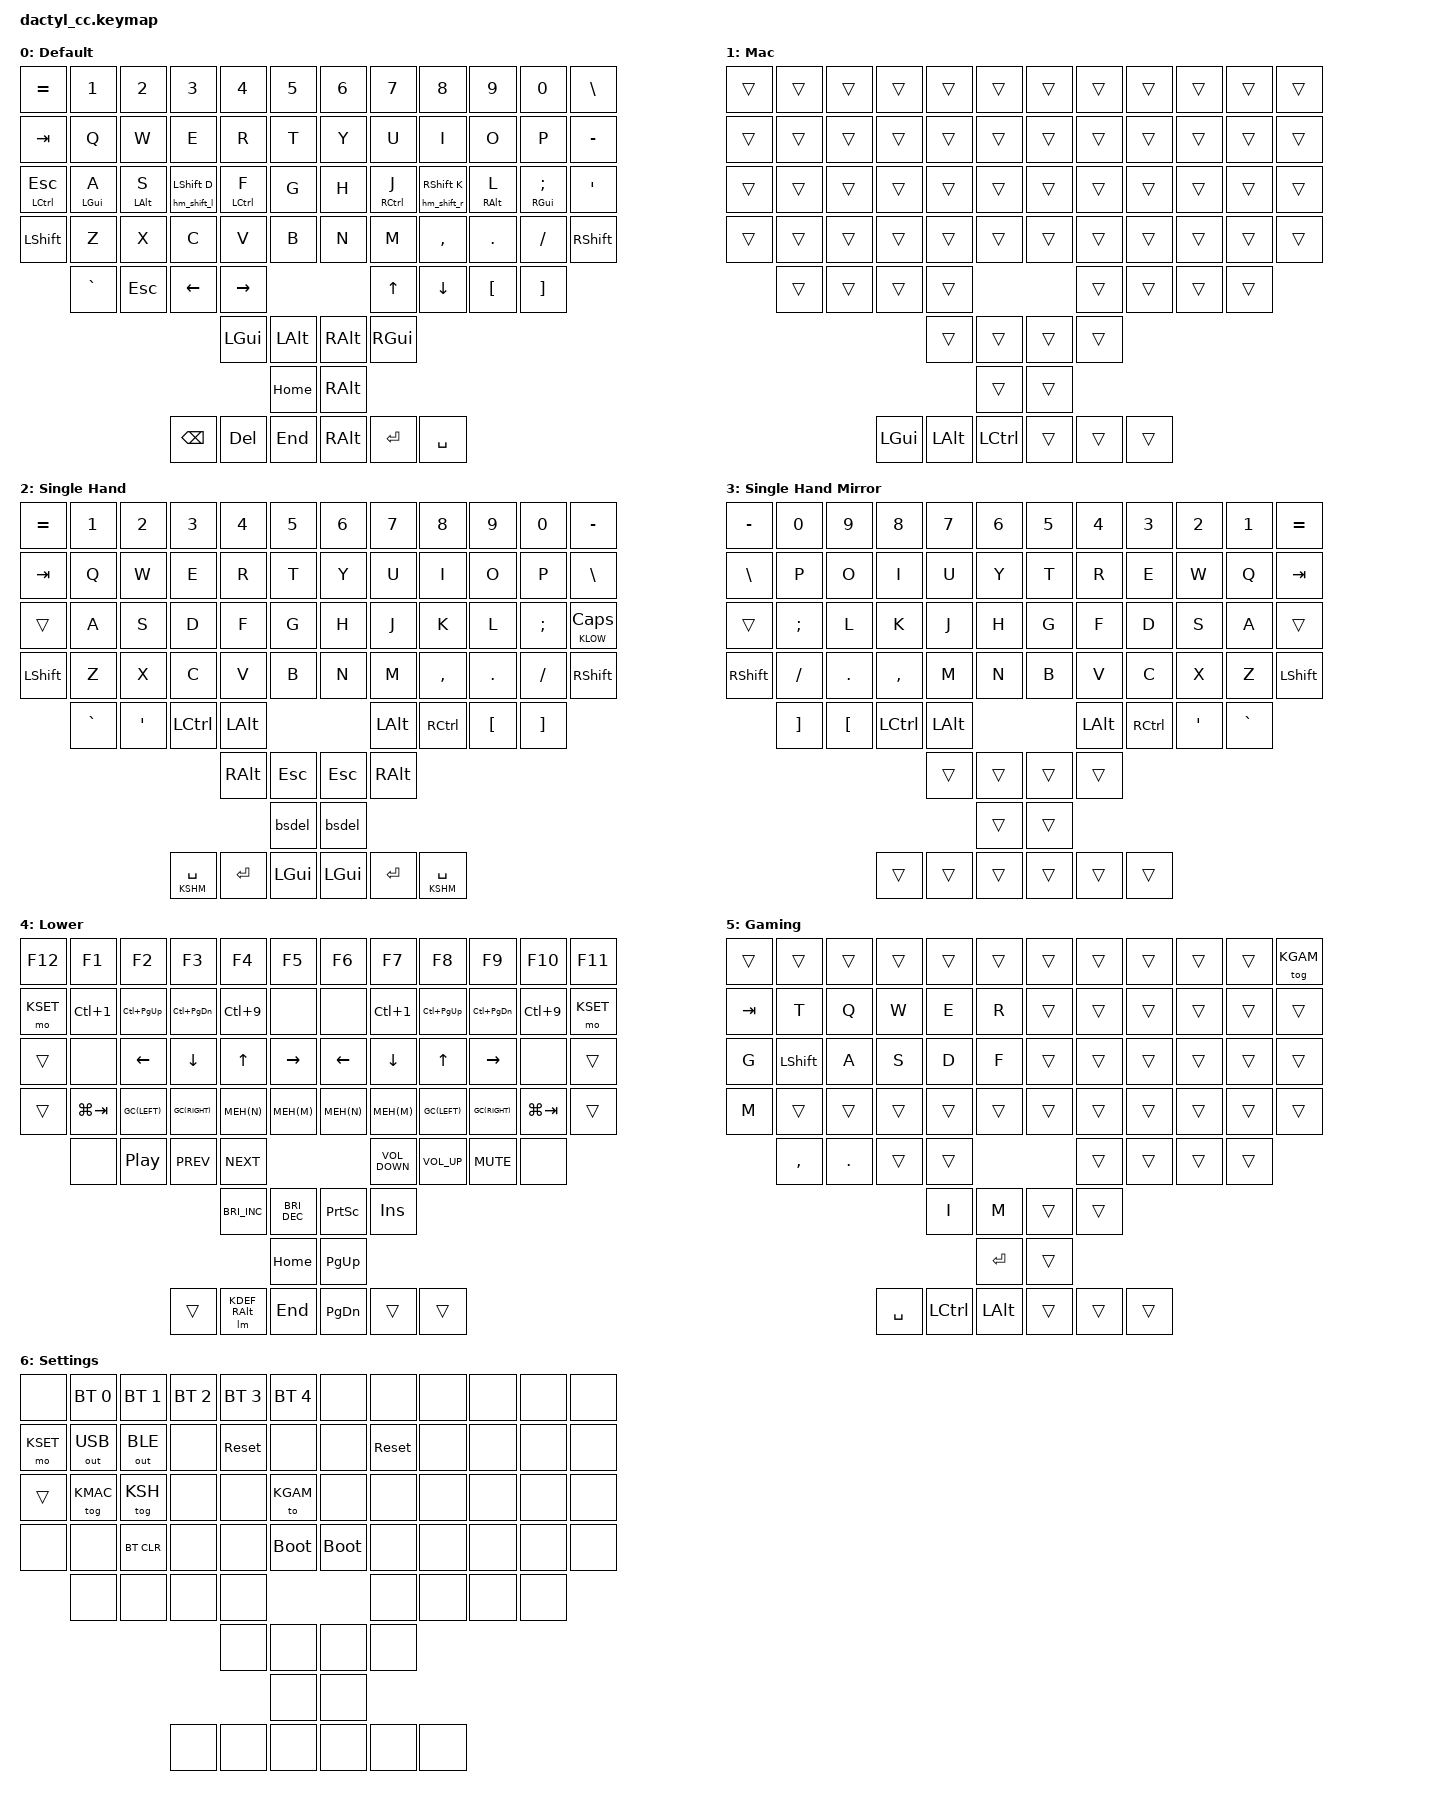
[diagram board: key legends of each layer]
#include <behaviors.dtsi>
#include <dt-bindings/zmk/keys.h>
#include <dt-bindings/zmk/bt.h>
#include <dt-bindings/zmk/outputs.h>

#include "includes/settings.dtsi"
#include "includes/behaviours_homerow_mods.dtsi"

#define KDEF         0 // Default layer
#define KMAC         1 // Mac overlay
#define KSH          2 // Single Hand layer
#define KSHM         3 // Single Hand Mirror layer
#define KLOW         4 // Lower layer
#define KGAM         5 // Gaming overlay
#define KSET         6 // Settings layer

// Modifiers
#define HYPER(key)   LS(LC(LA(LG(key)))) // LSHFT+LCTRL+LALT+LGUI
#define MEH(key)     LS(LC(LA(key))) // LSHFT+LCTRL+LALT
#define GC(key)      LG(LC(key)) // LGUI+LCTRL

// Shortcuts
#define SP           SPACE
#define ALTGR        RALT

#define BRI_DN       C_BRIGHTNESS_DEC
#define BRI_UP       C_BRIGHTNESS_INC
#define VOL_UP       C_VOLUME_UP
#define VOL_DN       C_VOLUME_DOWN


&kscan0 {
       debounce-press-ms = <30>;
       debounce-release-ms = <30>;
};

/ {
       behaviors {
              bsdel: backspace_delete {
                     compatible = "zmk,behavior-mod-morph";
                     #binding-cells = <0>;
                     bindings = <&kp BACKSPACE>, <&kp DELETE>;
                     mods = <(MOD_LSFT|MOD_RSFT)>;
              };
       };

       macros {
              /**
              * Temporarily switches to a layer (`&mo`) while a modifier is held.
              * Analogous to QMK's `LM()`, using a parameterized macro.
              *
              * Params:
              *  1. Layer to switch to
              *  2. Modifier to press while layer is active
              *
              * Example:
              *  `&lm NUM_LAYER LSHIFT`
              */
              lm: lm {
                     compatible = "zmk,behavior-macro-two-param";
                     wait-ms = <0>;
                     tap-ms = <0>;
                     #binding-cells = <2>;
                     bindings
                         = <&macro_param_1to1>
                         , <&macro_press &mo MACRO_PLACEHOLDER>
                         , <&macro_param_2to1>
                         , <&macro_press &kp MACRO_PLACEHOLDER>
                         , <&macro_pause_for_release>
                         , <&macro_param_2to1>
                         , <&macro_release &kp MACRO_PLACEHOLDER>
                         , <&macro_param_1to1>
                         , <&macro_release &mo MACRO_PLACEHOLDER>
                         ;
                 };
       };

       keymap {
              compatible = "zmk,keymap";

              default_layer {
                     display-name = "Default";
                     bindings = <
&kp EQUAL           &kp N1        &kp N2        &kp N3              &kp N4        &kp N5        &kp N6        &kp N7          &kp N8                &kp N9        &kp N0          &kp BSLH
&kp TAB             &kp Q         &kp W         &kp E               &kp R         &kp T         &kp Y         &kp U           &kp I                 &kp O         &kp P           &kp MINUS
&mt LCTRL ESC       &hm_l LGUI A  &hm_l LALT S  &hm_shift_l LSHFT D &hm_l LCTRL F &kp G         &kp H         &hm_r RCTRL J   &hm_shift_r RSHFT K   &hm_r RALT L  &hm_r RGUI SEMI &kp SQT
&kp LSHFT           &kp Z         &kp X         &kp C               &kp V         &kp B         &kp N         &kp M           &kp COMMA             &kp DOT       &kp FSLH        &kp RSHFT
                    &kp GRAVE     &kp ESC       &kp LEFT            &kp RIGHT                                 &kp UP          &kp DOWN              &kp LBKT      &kp RBKT
                                                                    &kp LGUI      &kp LALT      &kp RALT      &kp RGUI
                                                                                  &kp HOME      &kp RALT
                                                &kp BSPC            &kp DEL       &kp END       &kp RALT       &kp RET      &kp SPACE
                     >;
              };

              mac_layer {
                     display-name = "Mac";
                     bindings = <
&trans        &trans        &trans        &trans        &trans        &trans        &trans        &trans        &trans        &trans        &trans        &trans
&trans        &trans        &trans        &trans        &trans        &trans        &trans        &trans        &trans        &trans        &trans        &trans
&trans        &trans        &trans        &trans        &trans        &trans        &trans        &trans        &trans        &trans        &trans        &trans
&trans        &trans        &trans        &trans        &trans        &trans        &trans        &trans        &trans        &trans        &trans        &trans
              &trans        &trans        &trans        &trans                                    &trans        &trans        &trans        &trans
                                                        &trans        &trans        &trans        &trans
                                                                      &trans        &trans
                                          &kp LGUI      &kp LALT      &kp LCTRL     &trans        &trans        &trans
                     >;
              };

              single_hand_layer {
                     display-name = "Single Hand";
                     bindings = <
&kp EQUAL     &kp N1        &kp N2        &kp N3        &kp N4        &kp N5        &kp N6        &kp N7        &kp N8        &kp N9        &kp N0        &kp MINUS
&kp TAB       &kp Q         &kp W         &kp E         &kp R         &kp T         &kp Y         &kp U         &kp I         &kp O         &kp P         &kp BSLH
&trans        &kp A         &kp S         &kp D         &kp F         &kp G         &kp H         &kp J         &kp K         &kp L         &kp SEMI      &lt KLOW CAPS
&kp LSHFT     &kp Z         &kp X         &kp C         &kp V         &kp B         &kp N         &kp M         &kp COMMA     &kp DOT       &kp FSLH      &kp RSHFT
              &kp GRAVE     &kp SQT       &kp LCTRL     &kp LALT                                  &kp LALT      &kp RCTRL     &kp LBKT      &kp RBKT
                                                        &kp ALTGR     &kp ESC       &kp ESC       &kp ALTGR
                                                                      &bsdel        &bsdel
                                          &lt KSHM SP   &kp RET       &kp LGUI      &kp LGUI      &kp RET       &lt KSHM SP
                     >;
              };

              single_hand_mirror_layer {
                     display-name = "Single Hand Mirror";
                     bindings = <
&kp MINUS     &kp N0        &kp N9        &kp N8        &kp N7        &kp N6        &kp N5        &kp N4        &kp N3        &kp N2        &kp N1        &kp EQUAL
&kp BSLH      &kp P         &kp O         &kp I         &kp U         &kp Y         &kp T         &kp R         &kp E         &kp W         &kp Q         &kp TAB
&trans        &kp SEMI      &kp L         &kp K         &kp J         &kp H         &kp G         &kp F         &kp D         &kp S         &kp A         &trans
&kp RSHFT     &kp FSLH      &kp DOT       &kp COMMA     &kp M         &kp N         &kp B         &kp V         &kp C         &kp X         &kp Z         &kp LSHIFT
              &kp RBKT      &kp LBKT      &kp LCTRL     &kp LALT                                  &kp LALT      &kp RCTRL     &kp SQT       &kp GRAVE
                                                        &trans        &trans        &trans        &trans
                                                                      &trans        &trans
                                          &trans        &trans        &trans        &trans        &trans        &trans
                     >;
              };

              lower_layer {
                     display-name = "Lower";
                     bindings = <
&kp F12       &kp F1        &kp F2        &kp F3        &kp F4        &kp F5        &kp F6        &kp F7        &kp F8        &kp F9        &kp F10       &kp F11
&mo KSET      &kp LC(1)     &kp LC(PG_UP) &kp LC(PG_DN) &kp LC(9)     &none         &none         &kp LC(1)     &kp LC(PG_UP) &kp LC(PG_DN) &kp LC(9)     &mo KSET
&trans        &none         &kp LEFT      &kp DOWN      &kp UP        &kp RIGHT     &kp LEFT      &kp DOWN      &kp UP        &kp RIGHT     &none         &trans
&trans        &kp LG(TAB)   &kp GC(LEFT)  &kp GC(RIGHT) &kp MEH(N)    &kp MEH(M)    &kp MEH(N)    &kp MEH(M)    &kp GC(LEFT)  &kp GC(RIGHT) &kp LG(TAB)   &trans
              &none         &kp C_PP      &kp C_PREV    &kp C_NEXT                                &kp VOL_DN    &kp VOL_UP    &kp C_MUTE    &none
                                                        &kp BRI_UP    &kp BRI_DN    &kp PSCRN     &kp INS
                                                                      &kp HOME      &kp PG_UP
                                          &trans        &lm KDEF RALT &kp END       &kp PG_DN     &trans        &trans
                     >;
              };

              game_layer {
                     display-name = "Gaming";
                     bindings = <
&trans        &trans        &trans        &trans        &trans        &trans        &trans        &trans        &trans        &trans        &trans        &tog KGAM
&kp TAB       &kp T         &kp Q         &kp W         &kp E         &kp R         &trans        &trans        &trans        &trans        &trans        &trans
&kp G         &kp LSHFT     &kp A         &kp S         &kp D         &kp F         &trans        &trans        &trans        &trans        &trans        &trans
&kp M         &trans        &trans        &trans        &trans        &trans        &trans        &trans        &trans        &trans        &trans        &trans
              &kp COMMA     &kp DOT       &trans        &trans                                    &trans        &trans        &trans        &trans
                                                        &kp I         &kp M         &trans        &trans
                                                                      &kp ENTER     &trans
                                          &kp SP        &kp LCTRL     &kp LALT      &trans        &trans        &trans
                     >;
              };

              settings_layer {
                     display-name = "Settings";
                     bindings = <
&none         &bt BT_SEL 0  &bt BT_SEL 1  &bt BT_SEL 2  &bt BT_SEL 3  &bt BT_SEL 4  &none         &none         &none         &none         &none         &none
&mo KSET      &out OUT_USB  &out OUT_BLE  &none         &sys_reset    &none         &none         &sys_reset    &none         &none         &none         &none
&trans        &tog KMAC     &tog KSH      &none         &none         &to KGAM      &none         &none         &none         &none         &none         &none
&none         &none         &bt BT_CLR    &none         &none         &bootloader   &bootloader   &none         &none         &none         &none         &none
              &none         &none         &none         &none                                     &none         &none         &none         &none
                                                        &none         &none         &none         &none
                                                                      &none         &none
                                          &none         &none         &none         &none         &none         &none
                     >;
              };

       };
};
